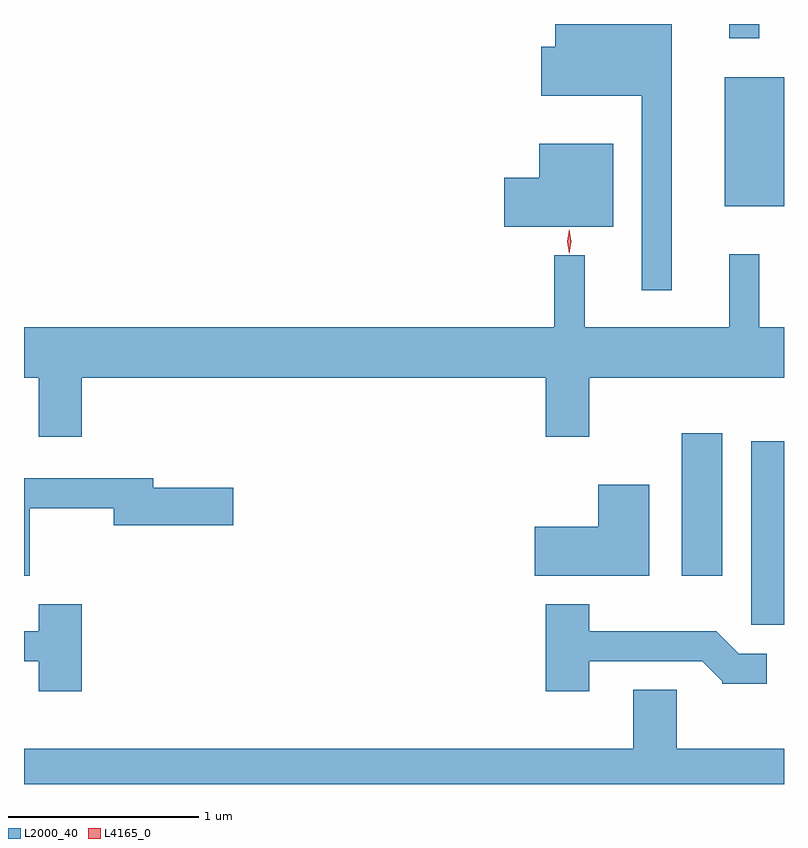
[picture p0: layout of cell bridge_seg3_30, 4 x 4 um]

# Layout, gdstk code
import gdstk
lib = gdstk.Library(unit=1e-6, precision=1e-09)
def R(c, l, rs):  # rectangles x0, y0, x1, y1
    for r in rs: c.add(gdstk.rectangle(r[:2], r[2:], *l))
def P(c, l, *ps):  # polygons
    for p in ps: c.add(gdstk.Polygon(p, *l))
L2000_40 = (2000, 40)
L4165_0 = (4165, 0)

bridge_seg3_30 = lib.new_cell('bridge_seg3_30')
R(bridge_seg3_30, L2000_40, [(1271.641,1200.196,1271.814,1201.164), (1271.276,1200.456,1271.489,1201.204), (1271.501,1202.401,1271.814,1203.079), (1271.526,1203.283,1271.684,1203.359)])
P(bridge_seg3_30, L2000_40, [(1271.224,1203.359),(1270.611,1203.359),(1270.611,1203.239),(1270.536,1203.239),(1270.536,1202.981),(1271.066,1202.981),(1271.066,1201.958),(1271.224,1201.958)],
  [(1270.914,1202.729),(1270.526,1202.729),(1270.526,1202.549),(1270.341,1202.549),(1270.341,1202.291),(1270.914,1202.291)],
  [(1268.119,1201.496),(1270.561,1201.496),(1270.561,1201.186),(1270.789,1201.186),(1270.789,1201.496),(1271.814,1201.496),(1271.814,1201.764),(1271.684,1201.764),(1271.684,1202.148),(1271.526,1202.148),(1271.526,1201.764),(1270.764,1201.764),(1270.764,1202.143),(1270.606,1202.143),(1270.606,1201.764),(1267.814,1201.764),(1267.814,1201.496),(1267.891,1201.496),(1267.891,1201.186),(1268.119,1201.186)],
  [(1267.844,1200.811),(1268.286,1200.811),(1268.286,1200.721),(1268.914,1200.721),(1268.914,1200.919),(1268.494,1200.919),(1268.494,1200.969),(1267.814,1200.969),(1267.814,1200.456),(1267.844,1200.456)],
  [(1271.104,1200.934),(1270.836,1200.934),(1270.836,1200.714),(1270.501,1200.714),(1270.501,1200.456),(1271.104,1200.456)],
  [(1270.789,1200.006),(1271.384,1200.006),(1271.49,1199.9),(1271.49,1199.886),(1271.723,1199.886),(1271.723,1200.044),(1271.577,1200.044),(1271.457,1200.164),(1270.789,1200.164),(1270.789,1200.304),(1270.561,1200.304),(1270.561,1199.846),(1270.789,1199.846)],
  [(1268.119,1200.304),(1267.891,1200.304),(1267.891,1200.164),(1267.814,1200.164),(1267.814,1200.006),(1267.891,1200.006),(1267.891,1199.846),(1268.119,1199.846)],
  [(1271.814,1199.544),(1271.249,1199.544),(1271.249,1199.854),(1271.021,1199.854),(1271.021,1199.544),(1267.814,1199.544),(1267.814,1199.359),(1271.814,1199.359)])
P(bridge_seg3_30, L4165_0, [(1270.684,1202.149),(1270.684,1202.149),(1270.674,1202.214),(1270.684,1202.279),(1270.684,1202.28),(1270.684,1202.279),(1270.694,1202.214),(1270.684,1202.149)])

lib.write_gds('bridge_seg3_30.gds')
